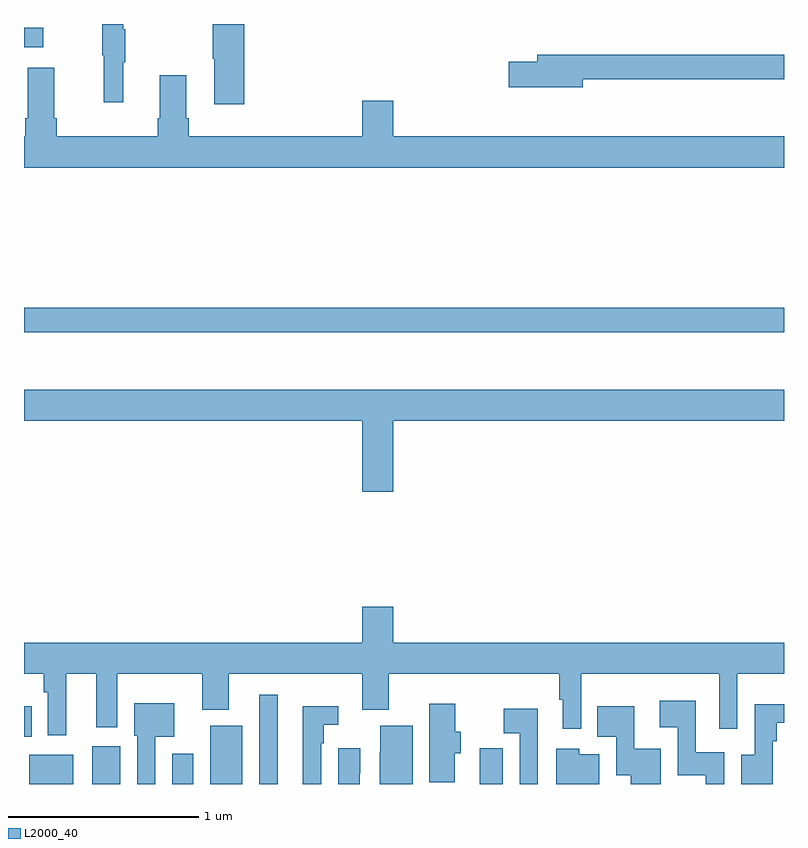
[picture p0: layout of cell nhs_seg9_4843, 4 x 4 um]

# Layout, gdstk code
import gdstk
lib = gdstk.Library(unit=1e-6, precision=1e-09)
def R(c, l, rs):  # rectangles x0, y0, x1, y1
    for r in rs: c.add(gdstk.rectangle(r[:2], r[2:], *l))
def P(c, l, *ps):  # polygons
    for p in ps: c.add(gdstk.Polygon(p, *l))
L2000_40 = (2000, 40)

nhs_seg9_4843 = lib.new_cell('nhs_seg9_4843')
R(nhs_seg9_4843, L2000_40, [(391.028,1202.5,391.258,1202.653), (391.358,1202.5,391.507,1202.698), (391.781,1202.5,391.891,1202.659), (391.979,1202.5,392.149,1202.806), (392.238,1202.5,392.335,1202.971), (393.398,1202.5,393.52,1202.687), (391,1202.75,391.04,1202.908), (391,1204.878,395,1205.006), (391,1206.377,391.102,1206.481)])
P(nhs_seg9_4843, L2000_40, [(392.159,1206.5),(391.993,1206.5),(391.993,1206.316),(392,1206.316),(392,1206.078),(392.159,1206.078)],
  [(391.523,1206.299),(391.534,1206.299),(391.534,1206.473),(391.523,1206.473),(391.523,1206.5),(391.413,1206.5),(391.413,1206.336),(391.42,1206.336),(391.42,1206.087),(391.523,1206.087)],
  [(393.94,1206.21),(395,1206.21),(395,1206.338),(393.701,1206.338),(393.701,1206.302),(393.552,1206.302),(393.552,1206.167),(393.94,1206.167)],
  [(395,1205.908),(392.944,1205.908),(392.944,1206.097),(392.78,1206.097),(392.78,1205.908),(391.868,1205.908),(391.868,1206.004),(391.855,1206.004),(391.855,1206.229),(391.715,1206.229),(391.715,1206.004),(391.703,1206.004),(391.703,1205.908),(391.172,1205.908),(391.172,1206.004),(391.159,1206.004),(391.159,1206.271),(391.019,1206.271),(391.019,1206.004),(391.007,1206.004),(391.007,1205.908),(391,1205.908),(391,1205.744),(395,1205.744)],
  [(392.944,1204.412),(395,1204.412),(395,1204.576),(391,1204.576),(391,1204.412),(392.78,1204.412),(392.78,1204.038),(392.944,1204.038)],
  [(392.944,1203.433),(392.78,1203.433),(392.78,1203.244),(391,1203.244),(391,1203.08),(391.105,1203.08),(391.105,1202.984),(391.125,1202.984),(391.125,1202.757),(391.222,1202.757),(391.222,1203.08),(391.379,1203.08),(391.379,1202.799),(391.492,1202.799),(391.492,1203.08),(391.937,1203.08),(391.937,1202.891),(392.077,1202.891),(392.077,1203.08),(392.78,1203.08),(392.78,1202.891),(392.92,1202.891),(392.92,1203.08),(393.817,1203.08),(393.817,1202.943),(393.836,1202.943),(393.836,1202.79),(393.933,1202.79),(393.933,1203.08),(394.659,1203.08),(394.659,1202.79),(394.755,1202.79),(394.755,1203.08),(395,1203.08),(395,1203.244),(392.944,1203.244)],
  [(394.686,1202.668),(394.536,1202.668),(394.536,1202.938),(394.347,1202.938),(394.347,1202.798),(394.44,1202.798),(394.44,1202.546),(394.588,1202.546),(394.588,1202.5),(394.686,1202.5)],
  [(391.692,1202.75),(391.792,1202.75),(391.792,1202.926),(391.58,1202.926),(391.58,1202.754),(391.596,1202.754),(391.596,1202.5),(391.692,1202.5)],
  [(393.268,1202.661),(393.298,1202.661),(393.298,1202.775),(393.271,1202.775),(393.271,1202.923),(393.134,1202.923),(393.134,1202.508),(393.268,1202.508)],
  [(394.941,1202.726),(394.961,1202.726),(394.961,1202.822),(395,1202.822),(395,1202.92),(394.845,1202.92),(394.845,1202.655),(394.775,1202.655),(394.775,1202.5),(394.941,1202.5)],
  [(394.351,1202.686),(394.213,1202.686),(394.213,1202.908),(394.018,1202.908),(394.018,1202.75),(394.116,1202.75),(394.116,1202.546),(394.193,1202.546),(394.193,1202.5),(394.351,1202.5)],
  [(392.565,1202.714),(392.577,1202.714),(392.577,1202.811),(392.653,1202.811),(392.653,1202.908),(392.468,1202.908),(392.468,1202.5),(392.565,1202.5)],
  [(393.705,1202.896),(393.526,1202.896),(393.526,1202.768),(393.609,1202.768),(393.609,1202.5),(393.705,1202.5)],
  [(393.046,1202.806),(392.876,1202.806),(392.876,1202.67),(392.873,1202.67),(392.873,1202.5),(393.046,1202.5)],
  [(392.766,1202.556),(392.77,1202.556),(392.77,1202.689),(392.654,1202.689),(392.654,1202.5),(392.766,1202.5)],
  [(394.027,1202.656),(393.922,1202.656),(393.922,1202.686),(393.8,1202.686),(393.8,1202.5),(394.027,1202.5)])

lib.write_gds('nhs_seg9_4843.gds')
